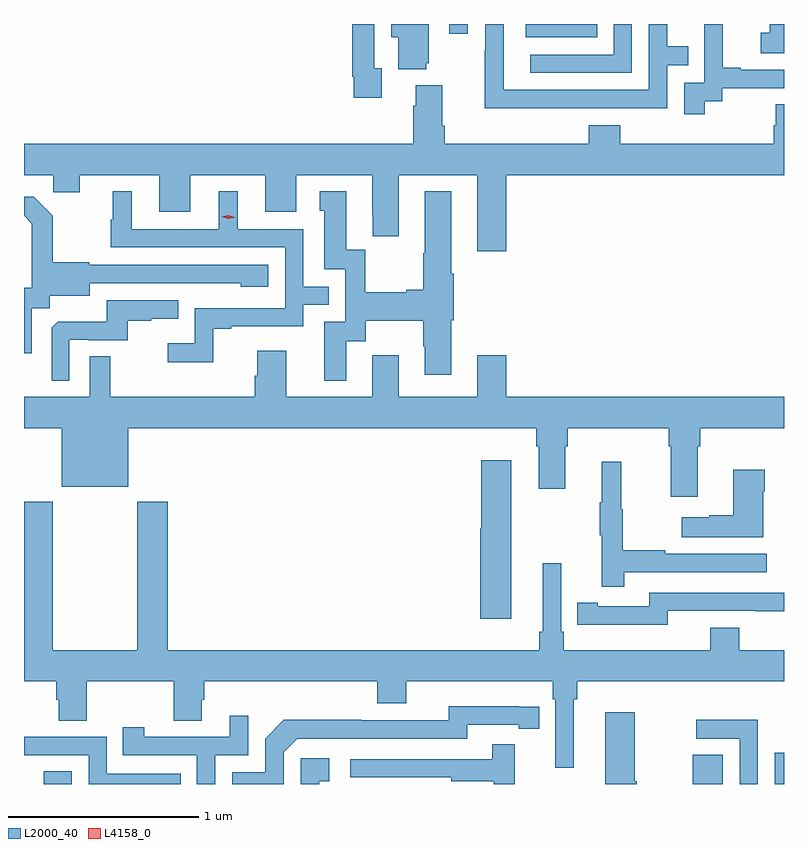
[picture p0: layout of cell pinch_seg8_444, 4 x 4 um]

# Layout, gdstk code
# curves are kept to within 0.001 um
import gdstk
lib = gdstk.Library(unit=1e-6, precision=1e-09)
def R(c, l, rs):  # rectangles x0, y0, x1, y1
    for r in rs: c.add(gdstk.rectangle(r[:2], r[2:], *l))
def P(c, l, *ps):  # polygons
    for p in ps: c.add(gdstk.Polygon(p, *l))
L2000_40 = (2000, 40)
L4158_0 = (4158, 0)

pinch_seg8_444 = lib.new_cell('pinch_seg8_444')
R(pinch_seg8_444, L2000_40, [(333.765,1150.591,333.912,1150.657), (337.183,1150.591,337.339,1150.745), (337.613,1150.591,337.662,1150.756), (336.302,1154.522,336.68,1154.591), (335.901,1154.541,335.997,1154.591)])
P(pinch_seg8_444, L2000_40, [(336.861,1154.591),(336.765,1154.591),(336.765,1154.43),(336.327,1154.43),(336.327,1154.334),(336.861,1154.334)],
  [(337.662,1154.591),(337.588,1154.591),(337.588,1154.545),(337.539,1154.545),(337.539,1154.436),(337.662,1154.436)],
  [(335.545,1154.358),(335.505,1154.358),(335.505,1154.591),(335.389,1154.591),(335.389,1154.314),(335.397,1154.314),(335.397,1154.202),(335.545,1154.202)],
  [(336.551,1154.148),(337.047,1154.148),(337.047,1154.373),(337.157,1154.373),(337.157,1154.474),(337.047,1154.474),(337.047,1154.591),(336.951,1154.591),(336.951,1154.244),(336.186,1154.244),(336.186,1154.591),(336.09,1154.591),(336.09,1154.453),(336.088,1154.453),(336.088,1154.147),(336.551,1154.147)],
  [(337.246,1154.185),(337.338,1154.185),(337.338,1154.253),(337.662,1154.253),(337.662,1154.349),(337.435,1154.349),(337.435,1154.362),(337.34,1154.362),(337.34,1154.591),(337.241,1154.591),(337.241,1154.513),(337.242,1154.513),(337.242,1154.283),(337.137,1154.283),(337.137,1154.115),(337.246,1154.115)],
  [(335.78,1154.385),(335.791,1154.385),(335.791,1154.591),(335.594,1154.591),(335.594,1154.522),(335.633,1154.522),(335.633,1154.354),(335.78,1154.354)],
  [(336.2,1153.796),(337.662,1153.796),(337.662,1154.168),(337.619,1154.168),(337.619,1154.058),(337.607,1154.058),(337.607,1153.96),(336.8,1153.96),(336.8,1154.059),(336.635,1154.059),(336.635,1153.96),(335.876,1153.96),(335.876,1154.056),(335.863,1154.056),(335.863,1154.269),(335.723,1154.269),(335.723,1154.162),(335.711,1154.162),(335.711,1153.96),(333.662,1153.96),(333.662,1153.796),(333.817,1153.796),(333.817,1153.706),(333.955,1153.706),(333.955,1153.796),(334.373,1153.796),(334.373,1153.602),(334.537,1153.602),(334.537,1153.796),(334.931,1153.796),(334.931,1153.602),(335.095,1153.602),(335.095,1153.796),(335.495,1153.796),(335.495,1153.585),(335.498,1153.585),(335.498,1153.473),(335.635,1153.473),(335.635,1153.796),(336.047,1153.796),(336.047,1153.395),(336.2,1153.395)],
  [(335.359,1152.922),(335.461,1152.922),(335.461,1153.028),(335.764,1153.028),(335.764,1152.894),(335.771,1152.894),(335.771,1152.744),(335.911,1152.744),(335.911,1153.032),(335.924,1153.032),(335.924,1153.276),(335.911,1153.276),(335.911,1153.711),(335.771,1153.711),(335.771,1153.385),(335.764,1153.385),(335.764,1153.193),(335.675,1153.193),(335.675,1153.18),(335.457,1153.18),(335.457,1153.403),(335.359,1153.403),(335.359,1153.711),(335.219,1153.711),(335.219,1153.608),(335.243,1153.608),(335.243,1153.299),(335.352,1153.299),(335.352,1153.023),(335.243,1153.023),(335.243,1152.714),(335.359,1152.714)],
  [(334.659,1152.987),(334.753,1152.987),(334.753,1152.999),(335.133,1152.999),(335.133,1153.113),(335.267,1153.113),(335.267,1153.209),(335.133,1153.209),(335.133,1153.512),(334.786,1153.512),(334.786,1153.711),(334.688,1153.711),(334.688,1153.512),(334.228,1153.512),(334.228,1153.711),(334.13,1153.711),(334.13,1153.56),(334.119,1153.56),(334.119,1153.416),(335.037,1153.416),(335.037,1153.095),(334.56,1153.095),(334.56,1152.91),(334.419,1152.91),(334.419,1152.812),(334.659,1152.812)],
  [(333.703,1153.096),(333.798,1153.096),(333.798,1153.16),(334.009,1153.16),(334.009,1153.227),(334.803,1153.226),(334.803,1153.208),(334.948,1153.208),(334.948,1153.323),(334.005,1153.323),(334.005,1153.336),(333.813,1153.336),(333.813,1153.581),(333.713,1153.681),(333.662,1153.681),(333.662,1153.582),(333.704,1153.54),(333.704,1153.445),(333.702,1153.445),(333.702,1153.204),(333.662,1153.204),(333.662,1152.858),(333.703,1152.858)],
  [(333.9,1152.93),(334,1152.93),(334,1152.927),(334.208,1152.927),(334.208,1153.029),(334.331,1153.029),(334.331,1153.04),(334.475,1153.04),(334.475,1153.137),(334.098,1153.137),(334.098,1153.025),(333.839,1153.025),(333.807,1152.993),(333.807,1152.713),(333.9,1152.713)],
  [(337.207,1152.368),(337.22,1152.368),(337.22,1152.464),(337.662,1152.464),(337.662,1152.628),(336.2,1152.628),(336.2,1152.847),(336.047,1152.847),(336.047,1152.628),(335.635,1152.628),(335.635,1152.847),(335.495,1152.847),(335.495,1152.628),(335.041,1152.628),(335.041,1152.871),(334.889,1152.871),(334.889,1152.741),(334.877,1152.741),(334.877,1152.628),(334.117,1152.628),(334.117,1152.842),(334.008,1152.842),(334.008,1152.628),(333.662,1152.628),(333.662,1152.464),(333.86,1152.464),(333.86,1152.155),(334.21,1152.155),(334.21,1152.464),(336.359,1152.464),(336.359,1152.368),(336.371,1152.368),(336.371,1152.144),(336.511,1152.144),(336.511,1152.368),(336.524,1152.368),(336.524,1152.464),(337.055,1152.464),(337.055,1152.368),(337.067,1152.368),(337.067,1152.102),(337.207,1152.102)],
  [(336.226,1152.295),(336.068,1152.295),(336.068,1151.937),(336.062,1151.937),(336.062,1151.46),(336.226,1151.46)],
  [(336.821,1151.706),(337.57,1151.706),(337.57,1151.802),(337.037,1151.802),(337.037,1151.822),(336.814,1151.822),(336.814,1152.036),(336.806,1152.036),(336.806,1152.286),(336.704,1152.286),(336.704,1152.073),(336.693,1152.073),(336.693,1151.899),(336.704,1151.899),(336.704,1151.628),(336.821,1151.628)],
  [(337.552,1152.131),(337.56,1152.131),(337.56,1152.244),(337.394,1152.244),(337.394,1152.005),(337.268,1152.005),(337.268,1151.995),(337.125,1151.995),(337.125,1151.891),(337.552,1151.891)],
  [(334.418,1152.076),(334.258,1152.076),(334.258,1151.296),(333.813,1151.296),(333.813,1152.076),(333.662,1152.076),(333.662,1151.132),(333.833,1151.132),(333.833,1151.034),(333.845,1151.034),(333.845,1150.924),(333.993,1150.924),(333.993,1151.132),(334.45,1151.132),(334.45,1150.924),(334.597,1150.924),(334.597,1151.034),(334.61,1151.034),(334.61,1151.132),(335.522,1151.132),(335.522,1151.015),(335.674,1151.015),(335.674,1151.132),(336.446,1151.132),(336.446,1151.036),(336.459,1151.036),(336.459,1150.677),(336.556,1150.677),(336.556,1151.036),(336.575,1151.036),(336.575,1151.132),(337.662,1151.132),(337.662,1151.296),(337.427,1151.296),(337.427,1151.413),(337.274,1151.413),(337.274,1151.296),(336.503,1151.296),(336.503,1151.392),(336.489,1151.392),(336.489,1151.752),(336.392,1151.752),(336.392,1151.392),(336.373,1151.392),(336.373,1151.296),(334.418,1151.296)],
  [(337.05,1151.502),(337.51,1151.502),(337.51,1151.501),(337.662,1151.501),(337.662,1151.598),(336.954,1151.598),(336.954,1151.526),(336.682,1151.526),(336.682,1151.546),(336.574,1151.546),(336.574,1151.43),(336.682,1151.43),(336.682,1151.429),(337.05,1151.429)],
  [(335.028,1150.758),(335.1,1150.83),(335.994,1150.83),(335.994,1150.902),(336.266,1150.902),(336.266,1150.882),(336.374,1150.882),(336.374,1150.998),(335.898,1150.999),(335.898,1150.926),(335.438,1150.926),(335.438,1150.928),(335.03,1150.928),(334.932,1150.83),(334.932,1150.653),(334.758,1150.653),(334.758,1150.591),(335.028,1150.591)],
  [(336.886,1150.605),(336.876,1150.605),(336.876,1150.969),(336.722,1150.969),(336.722,1150.591),(336.886,1150.591)],
  [(334.668,1150.743),(334.842,1150.743),(334.842,1150.951),(334.745,1150.951),(334.745,1150.839),(334.294,1150.839),(334.294,1150.891),(334.183,1150.891),(334.183,1150.743),(334.572,1150.743),(334.572,1150.591),(334.668,1150.591)],
  [(337.524,1150.928),(337.2,1150.928),(337.2,1150.83),(337.428,1150.83),(337.428,1150.591),(337.524,1150.591)],
  [(334.487,1150.644),(334.098,1150.644),(334.098,1150.839),(333.662,1150.839),(333.662,1150.743),(334.002,1150.743),(334.002,1150.591),(334.487,1150.591)],
  [(336.245,1150.801),(336.127,1150.801),(336.127,1150.722),(335.379,1150.722),(335.379,1150.626),(335.911,1150.626),(335.911,1150.606),(336.135,1150.606),(336.135,1150.591),(336.245,1150.591)],
  [(335.216,1150.605),(335.269,1150.605),(335.269,1150.726),(335.118,1150.726),(335.118,1150.591),(335.216,1150.591)])
P(pinch_seg8_444, L4158_0, [(334.737,1153.565),(334.702,1153.576),(334.701,1153.576),(334.702,1153.576),(334.737,1153.585),(334.772,1153.574),(334.773,1153.573),(334.772,1153.573)])

lib.write_gds('pinch_seg8_444.gds')
